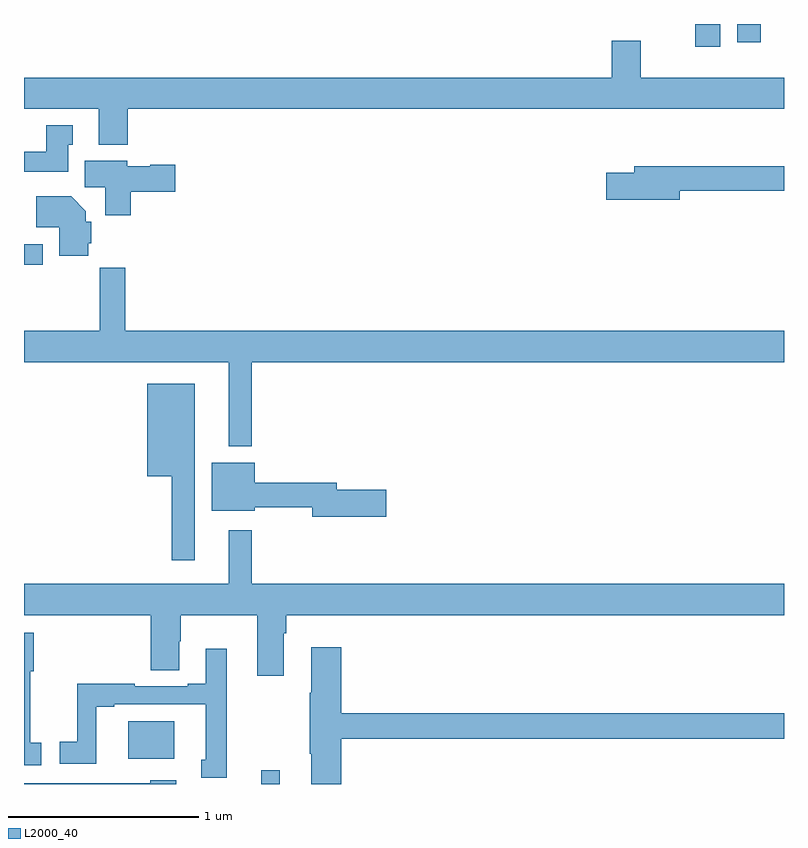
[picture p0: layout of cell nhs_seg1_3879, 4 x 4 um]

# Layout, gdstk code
import gdstk
lib = gdstk.Library(unit=1e-6, precision=1e-09)
def R(c, l, rs):  # rectangles x0, y0, x1, y1
    for r in rs: c.add(gdstk.rectangle(r[:2], r[2:], *l))
def P(c, l, *ps):  # polygons
    for p in ps: c.add(gdstk.Polygon(p, *l))
L2000_40 = (2000, 40)

nhs_seg1_3879 = lib.new_cell('nhs_seg1_3879')
R(nhs_seg1_3879, L2000_40, [(324.249,528.199,324.346,528.271), (323.549,528.332,323.791,528.529), (323,530.931,323.098,531.039), (326.534,532.08,326.665,532.199), (326.753,532.104,326.878,532.199)])
P(nhs_seg1_3879, L2000_40, [(323.546,531.752),(327,531.752),(327,531.916),(326.245,531.916),(326.245,532.111),(326.093,532.111),(326.093,531.916),(323,531.916),(323,531.752),(323.393,531.752),(323.393,531.563),(323.546,531.563)],
  [(323.233,531.564),(323.257,531.564),(323.257,531.667),(323.117,531.667),(323.117,531.526),(323,531.526),(323,531.422),(323.233,531.422)],
  [(323.561,531.317),(323.797,531.317),(323.797,531.459),(323.664,531.459),(323.664,531.451),(323.544,531.451),(323.544,531.478),(323.321,531.478),(323.321,531.34),(323.428,531.34),(323.428,531.192),(323.561,531.192)],
  [(326.452,531.322),(327,531.322),(327,531.451),(326.213,531.451),(326.213,531.417),(326.064,531.417),(326.064,531.275),(326.452,531.275)],
  [(323.339,531.045),(323.354,531.045),(323.354,531.159),(323.326,531.159),(323.326,531.214),(323.248,531.292),(323.065,531.292),(323.065,531.128),(323.186,531.128),(323.186,530.978),(323.339,530.978)],
  [(324.199,530.42),(327,530.42),(327,530.584),(323.534,530.584),(323.534,530.917),(323.398,530.917),(323.398,530.584),(323,530.584),(323,530.42),(324.077,530.42),(324.077,529.976),(324.199,529.976)],
  [(323.899,530.305),(323.648,530.305),(323.648,529.82),(323.778,529.82),(323.778,529.377),(323.899,529.377)],
  [(324.907,529.748),(324.646,529.748),(324.646,529.784),(324.214,529.784),(324.214,529.891),(323.987,529.891),(323.987,529.637),(324.214,529.637),(324.214,529.656),(324.518,529.656),(324.518,529.606),(324.907,529.606)],
  [(324.367,528.992),(324.38,528.992),(324.38,529.088),(327,529.088),(327,529.252),(324.199,529.252),(324.199,529.534),(324.077,529.534),(324.077,529.252),(323,529.252),(323,529.088),(323.666,529.088),(323.666,528.799),(323.818,528.799),(323.818,528.95),(323.826,528.95),(323.826,529.088),(324.227,529.088),(324.227,528.768),(324.367,528.768)],
  [(323.092,528.417),(323.034,528.417),(323.034,528.793),(323.051,528.793),(323.051,528.996),(323,528.996),(323,528.297),(323.092,528.297)],
  [(324.671,528.436),(327,528.436),(327,528.572),(324.671,528.572),(324.671,528.919),(324.512,528.919),(324.512,528.68),(324.505,528.68),(324.505,528.359),(324.512,528.359),(324.512,528.199),(324.671,528.199)],
  [(324.067,528.91),(323.957,528.91),(323.957,528.727),(323.861,528.727),(323.861,528.714),(323.582,528.714),(323.582,528.727),(323.281,528.727),(323.281,528.422),(323.187,528.422),(323.187,528.306),(323.38,528.306),(323.38,528.606),(323.476,528.606),(323.476,528.618),(323.957,528.618),(323.957,528.327),(323.933,528.327),(323.933,528.233),(324.067,528.233)],
  [(323.8,528.22),(323.664,528.22),(323.664,528.204),(323,528.204),(323,528.199),(323.8,528.199)])

lib.write_gds('nhs_seg1_3879.gds')
